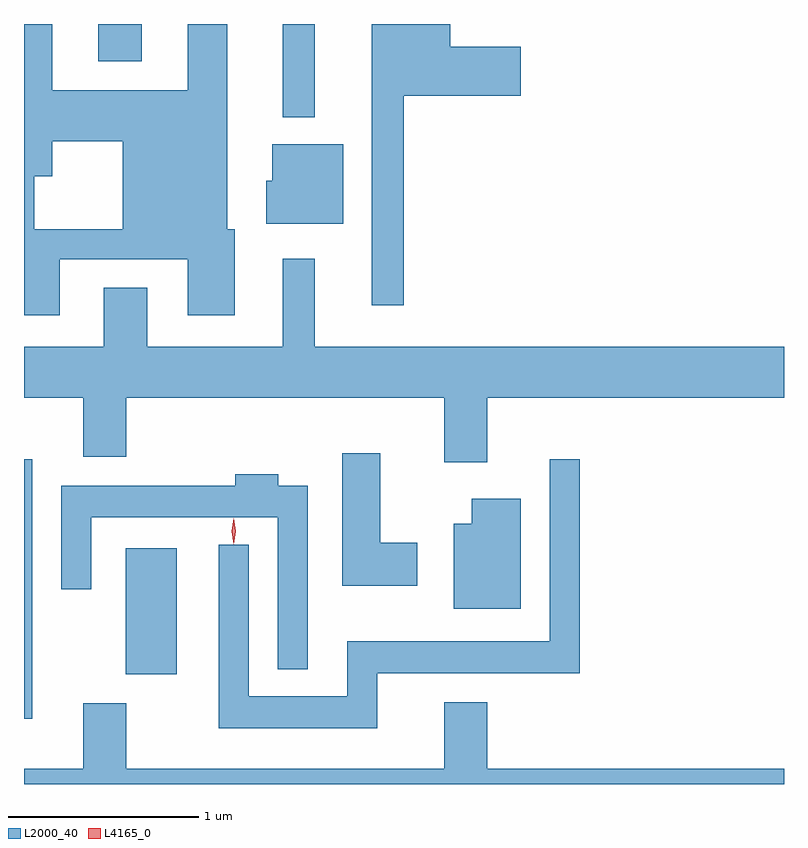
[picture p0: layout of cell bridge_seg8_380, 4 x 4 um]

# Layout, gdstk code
import gdstk
lib = gdstk.Library(unit=1e-6, precision=1e-09)
def R(c, l, rs):  # rectangles x0, y0, x1, y1
    for r in rs: c.add(gdstk.rectangle(r[:2], r[2:], *l))
def P(c, l, *ps):  # polygons
    for p in ps: c.add(gdstk.Polygon(p, *l))
L2000_40 = (2000, 40)
L4165_0 = (4165, 0)

bridge_seg8_380 = lib.new_cell('bridge_seg8_380')
R(bridge_seg8_380, L2000_40, [(723.11,1927.966,723.154,1929.333), (723.646,1928.201,723.914,1928.864), (724.471,1931.133,724.639,1931.623), (723.501,1931.426,723.729,1931.623)])
P(bridge_seg8_380, L2000_40, [(725.109,1931.246),(725.724,1931.246),(725.724,1931.504),(725.354,1931.504),(725.354,1931.623),(724.941,1931.623),(724.941,1930.143),(725.109,1930.143)],
  [(723.299,1930.091),(723.299,1930.386),(723.971,1930.386),(723.971,1930.091),(724.219,1930.091),(724.219,1930.544),(724.179,1930.544),(724.179,1931.623),(723.971,1931.623),(723.971,1931.274),(723.259,1931.274),(723.259,1931.623),(723.11,1931.623),(723.11,1930.544),(723.164,1930.544),(723.164,1930.821),(723.259,1930.821),(723.259,1931.006),(723.631,1931.006),(723.631,1930.544),(723.164,1930.544),(723.11,1930.544),(723.11,1930.091)],
  [(724.789,1930.989),(724.416,1930.989),(724.416,1930.799),(724.386,1930.799),(724.386,1930.571),(724.789,1930.571)],
  [(725.549,1929.656),(727.11,1929.656),(727.11,1929.924),(724.639,1929.924),(724.639,1930.388),(724.471,1930.388),(724.471,1929.924),(723.759,1929.924),(723.759,1930.234),(723.531,1930.234),(723.531,1929.924),(723.11,1929.924),(723.11,1929.656),(723.421,1929.656),(723.421,1929.346),(723.649,1929.346),(723.649,1929.656),(725.321,1929.656),(725.321,1929.316),(725.549,1929.316)],
  [(725.179,1928.894),(724.984,1928.894),(724.984,1929.364),(724.786,1929.364),(724.786,1928.666),(725.179,1928.666)],
  [(724.969,1928.206),(726.034,1928.206),(726.034,1929.333),(725.876,1929.333),(725.876,1928.374),(724.811,1928.374),(724.811,1928.084),(724.294,1928.084),(724.294,1928.883),(724.136,1928.883),(724.136,1927.916),(724.969,1927.916)],
  [(724.604,1929.194),(724.449,1929.194),(724.449,1929.254),(724.221,1929.254),(724.221,1929.194),(723.306,1929.194),(723.306,1928.648),(723.464,1928.648),(723.464,1929.026),(724.446,1929.026),(724.446,1928.228),(724.604,1928.228)],
  [(725.724,1929.124),(725.466,1929.124),(725.466,1928.994),(725.371,1928.994),(725.371,1928.546),(725.724,1928.546)],
  [(727.11,1927.704),(725.549,1927.704),(725.549,1928.054),(725.321,1928.054),(725.321,1927.704),(723.649,1927.704),(723.649,1928.049),(723.421,1928.049),(723.421,1927.704),(723.11,1927.704),(723.11,1927.623),(727.11,1927.623)])
P(bridge_seg8_380, L4165_0, [(724.214,1928.884),(724.214,1928.884),(724.204,1928.953),(724.214,1929.022),(724.214,1929.023),(724.215,1929.022),(724.224,1928.953),(724.215,1928.884)],
  [(724.214,1928.887),(724.205,1928.954),(724.214,1929.02),(724.215,1929.02),(724.215,1929.02),(724.225,1928.954),(724.215,1928.887),(724.215,1928.887)])

lib.write_gds('bridge_seg8_380.gds')
